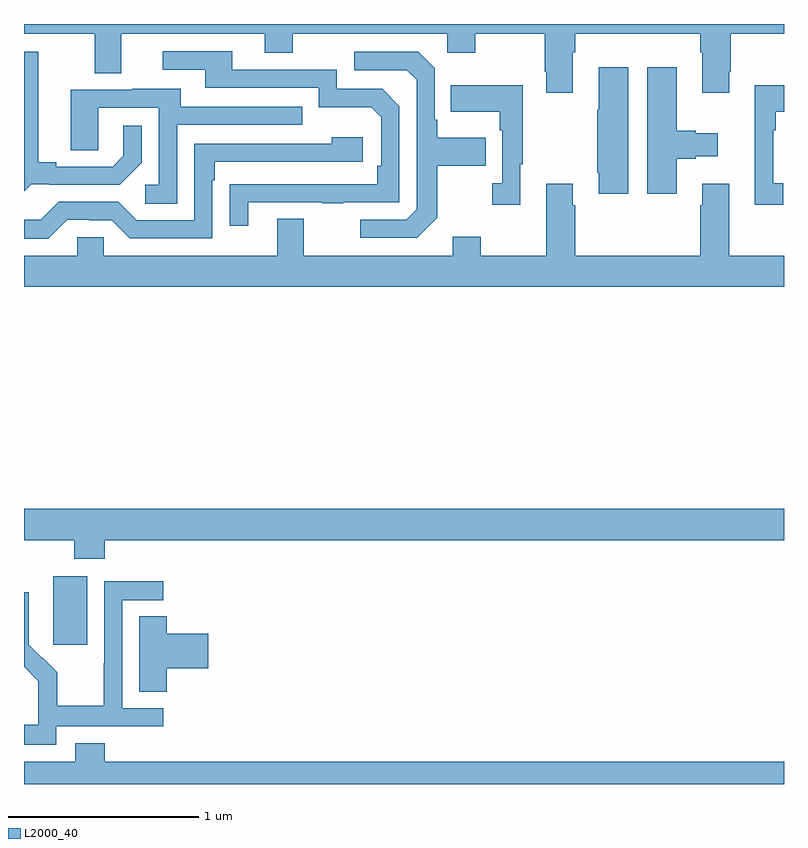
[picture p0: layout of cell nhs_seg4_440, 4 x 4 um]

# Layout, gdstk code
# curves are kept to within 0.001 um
import gdstk
lib = gdstk.Library(unit=1e-6, precision=1e-09)
def R(c, l, rs):  # rectangles x0, y0, x1, y1
    for r in rs: c.add(gdstk.rectangle(r[:2], r[2:], *l))
def P(c, l, *ps):  # polygons
    for p in ps: c.add(gdstk.Polygon(p, *l))
L2000_40 = (2000, 40)

nhs_seg4_440 = lib.new_cell('nhs_seg4_440')
R(nhs_seg4_440, L2000_40, [(133.154,765.633,133.333,765.994)])
P(nhs_seg4_440, L2000_40, [(135.889,768.752),(135.902,768.752),(135.902,768.848),(136.559,768.848),(136.559,768.752),(136.571,768.752),(136.571,768.537),(136.711,768.537),(136.711,768.649),(136.719,768.649),(136.719,768.848),(137,768.848),(137,768.9),(133,768.9),(133,768.848),(133.373,768.848),(133.373,768.64),(133.513,768.64),(133.513,768.848),(134.267,768.848),(134.267,768.749),(134.415,768.749),(134.415,768.848),(135.228,768.848),(135.228,768.749),(135.375,768.749),(135.375,768.848),(135.742,768.848),(135.742,768.649),(135.749,768.649),(135.749,768.537),(135.889,768.537)],
  [(134.179,767.961),(134.569,767.961),(134.569,767.956),(134.681,767.956),(134.681,767.961),(134.976,767.961),(134.976,768.468),(134.886,768.558),(134.646,768.558),(134.646,768.66),(134.095,768.66),(134.095,768.756),(133.731,768.756),(133.731,768.66),(133.955,768.66),(133.955,768.564),(134.55,768.564),(134.55,768.461),(134.827,768.461),(134.88,768.408),(134.88,768.154),(134.86,768.154),(134.86,768.057),(134.083,768.056),(134.083,767.838),(134.179,767.838)],
  [(135.175,767.881),(135.175,768.154),(135.431,768.154),(135.431,768.301),(135.175,768.301),(135.175,768.397),(135.162,768.397),(135.162,768.666),(135.075,768.753),(134.739,768.753),(134.739,768.657),(135.015,768.657),(135.066,768.606),(135.066,767.925),(135.012,767.871),(134.769,767.871),(134.769,767.775),(135.069,767.775)],
  [(133.038,768.057),(133.132,768.057),(133.132,768.054),(133.504,768.054),(133.62,768.17),(133.62,768.364),(133.523,768.364),(133.523,768.207),(133.466,768.15),(133.171,768.15),(133.171,768.173),(133.075,768.173),(133.075,768.753),(133,768.753),(133,768.019)],
  [(136.435,768.191),(136.535,768.191),(136.535,768.203),(136.651,768.203),(136.651,768.325),(136.535,768.325),(136.535,768.338),(136.435,768.338),(136.435,768.673),(136.28,768.673),(136.28,768.006),(136.435,768.006)],
  [(136.18,768.673),(136.025,768.673),(136.025,768.449),(136.018,768.449),(136.018,768.118),(136.025,768.118),(136.025,768.006),(136.18,768.006)],
  [(135.613,768.161),(135.625,768.161),(135.625,768.577),(135.247,768.577),(135.247,768.437),(135.504,768.437),(135.504,768.341),(135.516,768.341),(135.516,768.062),(135.465,768.062),(135.465,767.949),(135.613,767.949)],
  [(136.996,768.062),(136.944,768.062),(136.944,768.341),(136.957,768.341),(136.957,768.437),(137,768.437),(137,768.577),(136.847,768.577),(136.847,767.949),(136.996,767.949)],
  [(133.806,768.369),(134.465,768.369),(134.465,768.465),(133.825,768.465),(133.825,768.559),(133.571,768.559),(133.571,768.555),(133.247,768.555),(133.247,768.235),(133.392,768.235),(133.392,768.459),(133.71,768.459),(133.71,768.054),(133.638,768.054),(133.638,767.953),(133.806,767.953)],
  [(133.227,767.871),(133.343,767.871),(133.343,767.868),(133.461,767.868),(133.557,767.772),(133.992,767.772),(133.992,768.077),(134.005,768.077),(134.005,768.174),(134.782,768.174),(134.782,768.304),(134.621,768.304),(134.621,768.27),(133.896,768.27),(133.896,767.868),(133.593,767.868),(133.497,767.964),(133.182,767.964),(133.089,767.871),(133,767.871),(133,767.771),(133.127,767.771)],
  [(137,767.68),(136.711,767.68),(136.711,768.058),(136.571,768.058),(136.571,767.945),(136.559,767.945),(136.559,767.68),(135.902,767.68),(135.902,767.945),(135.889,767.945),(135.889,768.058),(135.749,768.058),(135.749,767.68),(135.405,767.68),(135.405,767.779),(135.257,767.779),(135.257,767.68),(134.473,767.68),(134.473,767.875),(134.333,767.875),(134.333,767.68),(133.419,767.68),(133.419,767.778),(133.281,767.778),(133.281,767.68),(133,767.68),(133,767.516),(137,767.516)],
  [(133.424,766.184),(137,766.184),(137,766.348),(133,766.348),(133,766.184),(133.264,766.184),(133.264,766.085),(133.424,766.085)],
  [(133.17,765.204),(133.732,765.204),(133.732,765.3),(133.518,765.3),(133.518,765.867),(133.732,765.867),(133.732,765.966),(133.422,765.966),(133.422,765.536),(133.42,765.536),(133.42,765.313),(133.175,765.313),(133.175,765.487),(133.098,765.564),(133.095,765.561),(133.025,765.632),(133.026,765.908),(133,765.908),(133,765.52),(133.003,765.517),(133.002,765.516),(133.076,765.442),(133.076,765.345),(133.074,765.345),(133.074,765.211),(133,765.211),(133,765.107),(133.17,765.107)],
  [(133.751,765.509),(133.969,765.509),(133.969,765.692),(133.751,765.692),(133.751,765.782),(133.607,765.782),(133.607,765.385),(133.751,765.385)],
  [(137,765.016),(133.424,765.016),(133.424,765.115),(133.271,765.115),(133.271,765.016),(133,765.016),(133,764.9),(137,764.9)])

lib.write_gds('nhs_seg4_440.gds')
